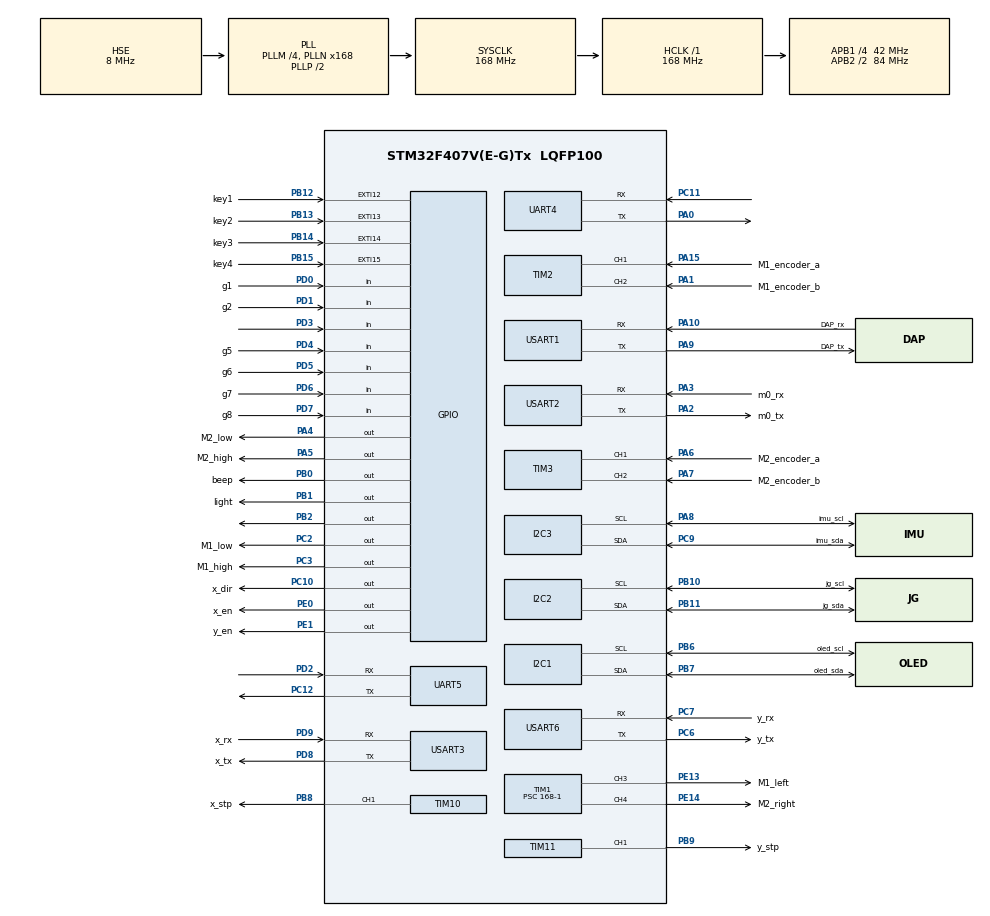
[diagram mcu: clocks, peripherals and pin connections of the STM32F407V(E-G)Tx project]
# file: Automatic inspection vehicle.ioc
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Dma.Request0=USART1_TX
Dma.Request1=USART2_RX
Dma.USART1_TX.0.Direction=DMA_MEMORY_TO_PERIPH
Dma.USART1_TX.0.FIFOMode=DMA_FIFOMODE_DISABLE
Dma.USART1_TX.0.Instance=DMA2_Stream7
Dma.USART1_TX.0.MemDataAlignment=DMA_MDATAALIGN_BYTE
Dma.USART1_TX.0.MemInc=DMA_MINC_ENABLE
Dma.USART1_TX.0.Mode=DMA_NORMAL
Dma.USART1_TX.0.PeriphDataAlignment=DMA_PDATAALIGN_BYTE
Dma.USART1_TX.0.PeriphInc=DMA_PINC_DISABLE
Dma.USART1_TX.0.Priority=DMA_PRIORITY_LOW
Dma.USART2_RX.1.Direction=DMA_PERIPH_TO_MEMORY
Dma.USART2_RX.1.FIFOMode=DMA_FIFOMODE_DISABLE
Dma.USART2_RX.1.Instance=DMA1_Stream5
Dma.USART2_RX.1.MemDataAlignment=DMA_MDATAALIGN_BYTE
Dma.USART2_RX.1.MemInc=DMA_MINC_ENABLE
Dma.USART2_RX.1.Mode=DMA_CIRCULAR
Dma.USART2_RX.1.PeriphDataAlignment=DMA_PDATAALIGN_BYTE
Dma.USART2_RX.1.PeriphInc=DMA_PINC_DISABLE
Dma.USART2_RX.1.Priority=DMA_PRIORITY_MEDIUM
Mcu.Family=STM32F4
Mcu.Name=STM32F407V(E-G)Tx
Mcu.Package=LQFP100
NVIC.DMA1_Stream5_IRQn=true\:1\:0\:false\:false\:true\:false\:true\:true
NVIC.DMA2_Stream7_IRQn=true\:0\:0\:false\:false\:true\:false\:true\:true
NVIC.EXTI15_10_IRQn=true\:2\:0\:false\:false\:true\:true\:true\:true
NVIC.PriorityGroup=NVIC_PRIORITYGROUP_4
NVIC.UART4_IRQn=true\:0\:0\:false\:false\:true\:true\:true\:true
NVIC.UART5_IRQn=true\:0\:0\:false\:false\:true\:true\:true\:true
NVIC.USART1_IRQn=true\:0\:0\:false\:false\:true\:true\:true\:true
NVIC.USART2_IRQn=true\:0\:0\:false\:false\:true\:true\:true\:true
NVIC.USART3_IRQn=true\:0\:0\:false\:false\:true\:true\:true\:true
NVIC.USART6_IRQn=true\:0\:0\:false\:false\:true\:true\:true\:true
PA0-WKUP.Mode=Asynchronous
PA0-WKUP.Signal=UART4_TX
PA1.GPIO_Label=M1_encoder_b
PA1.Signal=S_TIM2_CH2
PA10.GPIO_Label=DAP_rx
PA10.Mode=Asynchronous
PA10.Signal=USART1_RX
PA13.Mode=Serial_Wire
PA13.Signal=SYS_JTMS-SWDIO
PA14.Mode=Serial_Wire
PA14.Signal=SYS_JTCK-SWCLK
PA15.GPIO_Label=M1_encoder_a
PA15.Signal=S_TIM2_CH1_ETR
PA2.GPIO_Label=m0_tx
PA2.Mode=Asynchronous
PA2.Signal=USART2_TX
PA3.GPIO_Label=m0_rx
PA3.Mode=Asynchronous
PA3.Signal=USART2_RX
PA4.GPIO_Label=M2_low
PA4.Signal=GPIO_Output
PA5.GPIO_Label=M2_high
PA5.Signal=GPIO_Output
PA6.GPIO_Label=M2_encoder_a
PA6.Signal=S_TIM3_CH1
PA7.GPIO_Label=M2_encoder_b
PA7.Signal=S_TIM3_CH2
PA8.GPIO_Label=imu_scl
PA8.Mode=I2C
PA8.Signal=I2C3_SCL
PA9.GPIO_Label=DAP_tx
PA9.Mode=Asynchronous
PA9.Signal=USART1_TX
PB0.GPIO_Label=beep
PB0.Signal=GPIO_Output
PB1.GPIO_Label=light
PB1.Signal=GPIO_Output
PB10.GPIO_Label=jg_scl
PB10.Mode=I2C
PB10.Signal=I2C2_SCL
PB11.GPIO_Label=jg_sda
PB11.Mode=I2C
PB11.Signal=I2C2_SDA
PB12.GPIO_Label=key1
PB12.GPIO_ModeDefaultEXTI=GPIO_MODE_IT_FALLING
PB12.GPIO_PuPd=GPIO_PULLUP
PB12.Signal=GPXTI12
PB13.GPIO_Label=key2
PB13.GPIO_ModeDefaultEXTI=GPIO_MODE_IT_FALLING
PB13.GPIO_PuPd=GPIO_PULLUP
PB13.Signal=GPXTI13
PB14.GPIO_Label=key3
PB14.GPIO_ModeDefaultEXTI=GPIO_MODE_IT_FALLING
PB14.GPIO_PuPd=GPIO_PULLUP
PB14.Signal=GPXTI14
PB15.GPIO_Label=key4
PB15.GPIO_ModeDefaultEXTI=GPIO_MODE_IT_FALLING
PB15.GPIO_PuPd=GPIO_PULLUP
PB15.Signal=GPXTI15
PB2.Signal=GPIO_Output
PB6.GPIO_Label=oled_scl
PB6.Mode=I2C
PB6.Signal=I2C1_SCL
PB7.GPIO_Label=oled_sda
PB7.Mode=I2C
PB7.Signal=I2C1_SDA
PB8.GPIO_Label=x_stp
PB8.Signal=S_TIM10_CH1
PB9.GPIO_Label=y_stp
PB9.Signal=S_TIM11_CH1
PC10.GPIO_Label=x_dir
PC10.Signal=GPIO_Output
PC11.Mode=Asynchronous
PC11.Signal=UART4_RX
PC12.Mode=Asynchronous
PC12.Signal=UART5_TX
PC14-OSC32_IN.Mode=LSE-External-Oscillator
PC14-OSC32_IN.Signal=RCC_OSC32_IN
PC15-OSC32_OUT.Mode=LSE-External-Oscillator
PC15-OSC32_OUT.Signal=RCC_OSC32_OUT
PC2.GPIO_Label=M1_low
PC2.Signal=GPIO_Output
PC3.GPIO_Label=M1_high
PC3.Signal=GPIO_Output
PC6.GPIO_Label=y_tx
PC6.Mode=Asynchronous
PC6.Signal=USART6_TX
PC7.GPIO_Label=y_rx
PC7.Mode=Asynchronous
PC7.Signal=USART6_RX
PC9.GPIO_Label=imu_sda
PC9.Mode=I2C
PC9.Signal=I2C3_SDA
PD0.GPIO_Label=g1
PD0.Signal=GPIO_Input
PD1.GPIO_Label=g2
PD1.Signal=GPIO_Input
PD2.Mode=Asynchronous
PD2.Signal=UART5_RX
PD3.Signal=GPIO_Input
PD4.GPIO_Label=g5
PD4.Signal=GPIO_Input
PD5.GPIO_Label=g6
PD5.Signal=GPIO_Input
PD6.GPIO_Label=g7
PD6.Signal=GPIO_Input
PD7.GPIO_Label=g8
PD7.Signal=GPIO_Input
PD8.GPIO_Label=x_tx
PD8.Mode=Asynchronous
PD8.Signal=USART3_TX
PD9.GPIO_Label=x_rx
PD9.Mode=Asynchronous
PD9.Signal=USART3_RX
PE0.GPIO_Label=x_en
PE0.Signal=GPIO_Output
PE1.GPIO_Label=y_en
PE1.Signal=GPIO_Output
PE13.GPIO_Label=M1_left
PE13.Signal=S_TIM1_CH3
PE14.GPIO_Label=M2_right
PE14.Signal=S_TIM1_CH4
PH0-OSC_IN.Mode=HSE-External-Oscillator
PH0-OSC_IN.Signal=RCC_OSC_IN
PH1-OSC_OUT.Mode=HSE-External-Oscillator
PH1-OSC_OUT.Signal=RCC_OSC_OUT
ProjectManager.HeapSize=0x200
ProjectManager.StackSize=0x400
ProjectManager.TargetToolchain=MDK-ARM V5.32
RCC.48MHZClocksFreq_Value=84000000
RCC.AHBFreq_Value=168000000
RCC.APB1CLKDivider=RCC_HCLK_DIV4
RCC.APB1Freq_Value=42000000
RCC.APB1TimFreq_Value=84000000
RCC.APB2CLKDivider=RCC_HCLK_DIV2
RCC.APB2Freq_Value=84000000
RCC.APB2TimFreq_Value=168000000
RCC.CortexFreq_Value=168000000
RCC.HCLKFreq_Value=168000000
RCC.HSE_VALUE=8000000
RCC.HSI_VALUE=16000000
RCC.PLLM=4
RCC.PLLN=168
RCC.PLLSourceVirtual=RCC_PLLSOURCE_HSE
RCC.SYSCLKFreq_VALUE=168000000
RCC.SYSCLKSource=RCC_SYSCLKSOURCE_PLLCLK
RCC.VCOOutputFreq_Value=336000000
SH.S_TIM10_CH1.0=TIM10_CH1,Output Compare1 CH1
SH.S_TIM11_CH1.0=TIM11_CH1,Output Compare1 CH1
SH.S_TIM1_CH3.0=TIM1_CH3,PWM Generation3 CH3
SH.S_TIM1_CH4.0=TIM1_CH4,PWM Generation4 CH4
SH.S_TIM2_CH1_ETR.0=TIM2_CH1,Encoder_Interface
SH.S_TIM2_CH2.0=TIM2_CH2,Encoder_Interface
SH.S_TIM3_CH1.0=TIM3_CH1,Encoder_Interface
SH.S_TIM3_CH2.0=TIM3_CH2,Encoder_Interface
TIM1.Channel-PWM\ Generation3\ CH3=TIM_CHANNEL_3
TIM1.Channel-PWM\ Generation4\ CH4=TIM_CHANNEL_4
TIM1.Period=20000-1
TIM1.Prescaler=168-1
TIM10.Channel=TIM_CHANNEL_1
TIM11.Channel=TIM_CHANNEL_1
UART4.VirtualMode=Asynchronous
UART5.VirtualMode=Asynchronous
USART1.VirtualMode=VM_ASYNC
USART2.VirtualMode=VM_ASYNC
USART3.VirtualMode=VM_ASYNC
USART6.VirtualMode=VM_ASYNC
VP_TIM10_VS_ClockSourceINT.Mode=Enable_Timer
VP_TIM11_VS_ClockSourceINT.Mode=Enable_Timer
VP_TIM1_VS_ClockSourceINT.Mode=Internal
VP_TIM4_VS_ClockSourceINT.Mode=Internal
board=custom

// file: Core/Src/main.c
/* USER CODE BEGIN Header */
/**
  ******************************************************************************
  * @file           : main.c
  * @brief          : Main program body
  ******************************************************************************
  * @attention
  *
  * Copyright (c) 2026 STMicroelectronics.
  * All rights reserved.
  *
  * This software is licensed under terms that can be found in the LICENSE file
  * in the root directory of this software component.
  * If no LICENSE file comes with this software, it is provided AS-IS.
  *
  ******************************************************************************
  */
/* USER CODE END Header */
#include "main.h"
#include "dma.h"
#include "i2c.h"
#include "tim.h"
#include "usart.h"
#include "gpio.h"

/* USER CODE BEGIN Includes */
#include "oled.h"
#include "key_input.h"
#include "four_axis.h"
#include "status_ui.h"
#include "electromagnet.h"
#include "task.h"
#include "vision_jsonl.h"
#include "debug_uart.h"
#include "dma_rx_cursor.h"
#include "stdio.h"
#include "string.h"
/* USER CODE END Includes */

/* USER CODE BEGIN PD */
#define KEY_PIN_TO_ID(pin) \
    ((pin) == key1_Pin ? KEY1_PIN_ID : \
    ((pin) == key2_Pin ? KEY2_PIN_ID : \
    ((pin) == key3_Pin ? KEY3_PIN_ID : KEY4_PIN_ID)))
/* USER CODE END PD */

/* USER CODE BEGIN PV */
static uint8_t vofa_rx_byte;
static char vision_rx_log[1024];
static char host_rx_log[256];
static volatile uint16_t host_rx_size;
static volatile uint8_t host_rx_ready;
#define USART2_DMA_RX_SIZE 1024u
static uint8_t usart2_dma_rx[USART2_DMA_RX_SIZE];
static DmaRxCursor_t usart2_cursor;
static volatile uint16_t usart2_dma_producer;
static volatile uint8_t usart2_dma_event_pending;
static volatile uint8_t usart2_recovery_pending;
static volatile uint32_t usart2_pending_error;
static uint32_t usart2_recovery_count;
static uint32_t usart2_last_byte_tick;
static uint16_t usart2_partial_bytes;
static uint8_t usart2_partial_reported;
static uint8_t task1_auto_started;
/* USER CODE END PV */

void SystemClock_Config(void);

/* USER CODE BEGIN 0 */

/* printf 重定向到 USART1（DAPLink 虚拟串口），防止 semihosting 导致卡死 */
#ifdef __GNUC__
  #define PUTCHAR_PROTOTYPE int __io_putchar(int ch)
#else
  #define PUTCHAR_PROTOTYPE int fputc(int ch, FILE *f)
#endif

PUTCHAR_PROTOTYPE
{
    DebugUart_PutChar(ch);
    return ch;
}

static void Task_SetElectromagnets(uint8_t mode, uint16_t duty_permyriad)
{
    Electromagnet_Set(0u, (ElectromagnetMode_t)mode, duty_permyriad);
}

static uint8_t Task_HomingProcess(void)
{
    return (uint8_t)FourAxis_HomingProcess();
}

static uint8_t Task_RecordedHomeProcess(void)
{
    return (uint8_t)FourAxis_RecordedHomeProcess();
}

static void Task_SendResponse(const char *text)
{
    /* USART1 is the interactive host port. USART2 is receive-only JSONL. */
    DebugUart_Printf("%s\r\n", text);
}

static void Task_SetBeeper(uint8_t on)
{
    /* PB0 = buzzer, active high. */
    HAL_GPIO_WritePin(GPIOB, GPIO_PIN_0, on ? GPIO_PIN_SET : GPIO_PIN_RESET);
}

static void Task_SetLight(uint8_t on)
{
    HAL_GPIO_WritePin(light_GPIO_Port, light_Pin, on ? GPIO_PIN_SET : GPIO_PIN_RESET);
}

static const TaskMotionOps_t task_motion_ops = {
    FourAxis_StartAll360,
    FourAxis_PauseAll,
    FourAxis_ResumeAll,
    FourAxis_AbortAll,
    FourAxis_GetProgress,
    FourAxis_AllComplete,
    Task_SetElectromagnets,
    FourAxis_StartMove,
    FourAxis_MoveComplete,
    FourAxis_MoveFailed,
    HAL_GetTick,
    FourAxis_StartCalibration,
    FourAxis_PauseCalibration,
    FourAxis_ResumeCalibration,
    FourAxis_StopCalibration,
    FourAxis_GetCalibrationPulses,
    FourAxis_StartMovePulses,
    FourAxis_StartMovePulsesAtSpeed,
    FourAxis_HomingStart,
    Task_HomingProcess,
    Task_SendResponse,
    Task_SetBeeper,
    Task_SetLight,
    FourAxis_SetHomingZeroAll,
    FourAxis_CaptureHomeReference,
    FourAxis_RecordedHomeStart,
    Task_RecordedHomeProcess,
    FourAxis_SetTask1OpenLoop
};

static void USART2_StartDmaRx(void)
{
    if (HAL_UARTEx_ReceiveToIdle_DMA(&huart2, usart2_dma_rx,
                                     sizeof(usart2_dma_rx)) == HAL_OK)
        __HAL_DMA_DISABLE_IT(huart2.hdmarx, DMA_IT_HT);
}

static void USART2_ProcessDma(void)
{
    DmaRxSpan_t spans[2];
    uint16_t producer;
    uint8_t count;
    uint8_t span;
    uint32_t primask;
    if (usart2_recovery_pending)
    {
        uint32_t error;
        primask = __get_PRIMASK();
        __disable_irq();
        error = usart2_pending_error;
        usart2_recovery_pending = 0u;
        usart2_dma_event_pending = 0u;
        if (primask == 0u) __enable_irq();
        (void)HAL_UART_AbortReceive(&huart2);
        DmaRxCursor_Reset(&usart2_cursor);
        usart2_dma_producer = 0u;
        USART2_StartDmaRx();
        ++usart2_recovery_count;
        DebugUart_Printf("[USART2 ERROR] code=%08lX RECOVER=%lu\r\n",
                         (unsigned long)error,
                         (unsigned long)usart2_recovery_count);
    }
    if (usart2_dma_event_pending)
    {
        primask = __get_PRIMASK();
        __disable_irq();
        producer = usart2_dma_producer;
        usart2_dma_event_pending = 0u;
        if (primask == 0u) __enable_irq();
        count = DmaRxCursor_Update(&usart2_cursor, producer, spans);
        for (span = 0u; span < count; ++span)
        {
            uint16_t i;
            for (i = 0u; i < spans[span].size; ++i)
            {
                uint8_t byte = usart2_dma_rx[spans[span].offset + i];
                VisionJsonl_RxByte(byte);
                usart2_last_byte_tick = HAL_GetTick();
                if (byte == '\n')
                {
                    usart2_partial_bytes = 0u;
                    usart2_partial_reported = 0u;
                }
                else if (usart2_partial_bytes < 0xFFFFu)
                    ++usart2_partial_bytes;
            }
        }
    }
    if ((usart2_partial_bytes != 0u) && !usart2_partial_reported &&
        ((uint32_t)(HAL_GetTick() - usart2_last_byte_tick) >= 500u))
    {
        DebugUart_Printf("[USART2 PARTIAL] bytes=%u NO NEWLINE\r\n",
                         usart2_partial_bytes);
        usart2_partial_reported = 1u;
    }
}

/* USER CODE END 0 */

int main(void)
{

  /* MCU Configuration--------------------------------------------------------*/

  /* Reset of all peripherals, Initializes the Flash interface and the Systick. */
  HAL_Init();

  /* Configure the system clock */
  SystemClock_Config();

  /* Initialize all configured peripherals */
  MX_GPIO_Init();
  MX_DMA_Init();
  MX_I2C1_Init();
  MX_I2C2_Init();
  MX_TIM1_Init();
  MX_TIM2_Init();
  MX_TIM3_Init();
  MX_TIM4_Init();
  MX_USART1_UART_Init();
  MX_USART2_UART_Init();
  MX_USART3_UART_Init();
  MX_USART6_UART_Init();
  MX_I2C3_Init();
  MX_TIM10_Init();
  MX_TIM11_Init();
  MX_UART4_Init();
  MX_UART5_Init();
  /* USER CODE BEGIN 2 */
  DebugUart_Init();
  KeyInput_Init();
  FourAxis_Init();
  Electromagnet_HardwareInit();
  Task_Init(&task_motion_ops);
  VisionJsonl_Init();
  DmaRxCursor_Init(&usart2_cursor, sizeof(usart2_dma_rx));
  StatusUi_Init();
  USART2_StartDmaRx();
  HAL_UART_Receive_IT(&huart1, &vofa_rx_byte, 1u);
  /* USER CODE END 2 */

  /* Infinite loop */
  while (1)
  {

    /* USER CODE BEGIN 3 */
    uint32_t key_tick = HAL_GetTick();
    USART2_ProcessDma();
    if (host_rx_ready)
    {
      char host_line[sizeof(host_rx_log)];
      uint32_t primask = __get_PRIMASK();
      __disable_irq();
      strcpy(host_line, host_rx_log);
      host_rx_ready = 0u;
      host_rx_size = 0u;
      if (primask == 0u) __enable_irq();
      DebugUart_LogTextRx("USART1", "HOST", host_line);
    }
    FourAxisHomingState_t homing;
    KeyInput_UpdateLevel(KEY1_PIN_ID,
      HAL_GPIO_ReadPin(key1_GPIO_Port, key1_Pin) == GPIO_PIN_RESET, key_tick);
    KeyInput_UpdateLevel(KEY2_PIN_ID,
      HAL_GPIO_ReadPin(key2_GPIO_Port, key2_Pin) == GPIO_PIN_RESET, key_tick);
    KeyInput_UpdateLevel(KEY3_PIN_ID,
      HAL_GPIO_ReadPin(key3_GPIO_Port, key3_Pin) == GPIO_PIN_RESET, key_tick);
    KeyInput_UpdateLevel(KEY4_PIN_ID,
      HAL_GPIO_ReadPin(key4_GPIO_Port, key4_Pin) == GPIO_PIN_RESET, key_tick);
    KeyEvent_t event = KeyInput_TakeEvent();

    if (event == KEY_EVENT_RESET)
    {
      StatusUi_LogKey("RESET");
      NVIC_SystemReset();
    }
    FourAxis_Process();
    homing = FourAxis_GetHomingState();
    if (FourAxis_GetStartupState() == FOUR_AXIS_STARTUP_READY)
    {
      if (!task1_auto_started)
      {
        Task_AutoStartTask1();
        task1_auto_started = 1u;
      }
      VisionPlan_t vision_plan;
      char vision_status[32];
      VisionJsonlResult_t vision_result =
        VisionJsonl_ProcessWithRaw(&vision_plan, vision_status,
                                   sizeof(vision_status), vision_rx_log,
                                   sizeof(vision_rx_log));
      if (vision_result != VISION_JSONL_NONE)
        StatusUi_ShowTransient("UART2 RX");
      if (vision_result != VISION_JSONL_NONE)
        DebugUart_LogTextRx("USART2", "CAM", vision_rx_log);
      if (vision_result == VISION_JSONL_PLAN)
      {
        if (Task_SubmitVisionPlan(&vision_plan))
        {
          StatusUi_ShowTransient("JSON ACCEPT");
          printf("[JSONL] ACCEPT count=%u elapsed=%lu\r\n",
                 vision_plan.count, (unsigned long)vision_plan.elapsed_ms);
        }
        else
        {
          StatusUi_ShowTransient("TASK BUSY");
          printf("[JSONL] REJECT MACHINE BUSY/NOT TASK1\r\n");
        }
      }
      else if (vision_result == VISION_JSONL_REPORT)
      {
        StatusUi_ShowTransient("UART2 REPORT");
        printf("[JSONL] REPORT status=%s NO MOTION\r\n", vision_status);
      }
      else if (vision_result == VISION_JSONL_REJECT)
      {
        StatusUi_ShowTransient("JSON INVALID");
        printf("[JSONL] REJECT INVALID PLAN\r\n");
      }
      if (event == KEY_EVENT_NEXT)
      {
        StatusUi_LogKey("NEXT");
        Task_SelectNext();
      }
      else if (event == KEY_EVENT_TOGGLE)
      {
        StatusUi_LogKey("START/PAUSE");
        Task_StartOrTogglePause();
      }
      else if (event == KEY_EVENT_EXIT)
      {
        StatusUi_LogKey("EXIT");
        Task_Exit();
      }
      Task_Process();
    }
    StatusUi_Process(homing);

  }
  /* USER CODE END 3 */
}

void SystemClock_Config(void)
{
  RCC_OscInitTypeDef RCC_OscInitStruct = {0};
  RCC_ClkInitTypeDef RCC_ClkInitStruct = {0};

  /** Configure the main internal regulator output voltage
  */
  __HAL_RCC_PWR_CLK_ENABLE();
  __HAL_PWR_VOLTAGESCALING_CONFIG(PWR_REGULATOR_VOLTAGE_SCALE1);

  /** Initializes the RCC Oscillators according to the specified parameters
  * in the RCC_OscInitTypeDef structure.
  */
  RCC_OscInitStruct.OscillatorType = RCC_OSCILLATORTYPE_HSE;
  RCC_OscInitStruct.HSEState = RCC_HSE_ON;
  RCC_OscInitStruct.PLL.PLLState = RCC_PLL_ON;
  RCC_OscInitStruct.PLL.PLLSource = RCC_PLLSOURCE_HSE;
  RCC_OscInitStruct.PLL.PLLM = 4;
  RCC_OscInitStruct.PLL.PLLN = 168;
  RCC_OscInitStruct.PLL.PLLP = RCC_PLLP_DIV2;
  RCC_OscInitStruct.PLL.PLLQ = 4;
  if (HAL_RCC_OscConfig(&RCC_OscInitStruct) != HAL_OK)
  {
    Error_Handler();
  }

  /** Initializes the CPU, AHB and APB buses clocks
  */
  RCC_ClkInitStruct.ClockType = RCC_CLOCKTYPE_HCLK|RCC_CLOCKTYPE_SYSCLK
                              |RCC_CLOCKTYPE_PCLK1|RCC_CLOCKTYPE_PCLK2;
  RCC_ClkInitStruct.SYSCLKSource = RCC_SYSCLKSOURCE_PLLCLK;
  RCC_ClkInitStruct.AHBCLKDivider = RCC_SYSCLK_DIV1;
  RCC_ClkInitStruct.APB1CLKDivider = RCC_HCLK_DIV4;
  RCC_ClkInitStruct.APB2CLKDivider = RCC_HCLK_DIV2;

  if (HAL_RCC_ClockConfig(&RCC_ClkInitStruct, FLASH_LATENCY_5) != HAL_OK)
  {
    Error_Handler();
  }
}

/* USER CODE BEGIN 4 */

void HAL_GPIO_EXTI_Callback(uint16_t GPIO_Pin)
{
  if ((GPIO_Pin == key1_Pin) || (GPIO_Pin == key2_Pin) ||
      (GPIO_Pin == key3_Pin) || (GPIO_Pin == key4_Pin))
  {
    KeyInput_RecordIsr(KEY_PIN_TO_ID(GPIO_Pin), HAL_GetTick());
  }
}

void HAL_UART_RxCpltCallback(UART_HandleTypeDef *huart)
{
  if (huart->Instance == USART1)
  {
    /* VOFA bridge: USART1 command bytes enter the same line parser. */
    Task_CameraRxByte(vofa_rx_byte);
    if (!host_rx_ready)
    {
      if ((vofa_rx_byte == '\n') || (vofa_rx_byte == '\r'))
      {
        if (host_rx_size != 0u)
        {
          host_rx_log[host_rx_size] = '\0';
          host_rx_ready = 1u;
        }
      }
      else if (host_rx_size < (sizeof(host_rx_log) - 1u))
      {
        host_rx_log[host_rx_size++] = (char)vofa_rx_byte;
      }
      else host_rx_size = 0u;
    }
    HAL_UART_Receive_IT(&huart1, &vofa_rx_byte, 1u);
  }
}

void HAL_UARTEx_RxEventCallback(UART_HandleTypeDef *huart, uint16_t Size)
{
  if (huart->Instance == USART2)
  {
    usart2_dma_producer = Size;
    usart2_dma_event_pending = 1u;
  }
}

void HAL_UART_ErrorCallback(UART_HandleTypeDef *huart)
{
  if (huart->Instance == USART2)
  {
    usart2_pending_error = huart->ErrorCode;
    usart2_recovery_pending = 1u;
  }
}

void HAL_UART_TxCpltCallback(UART_HandleTypeDef *huart)
{
  DebugUart_TxComplete(huart);
}

/* USER CODE END 4 */

void Error_Handler(void)
{
  __disable_irq();
  while (1)
  {
  }
}
